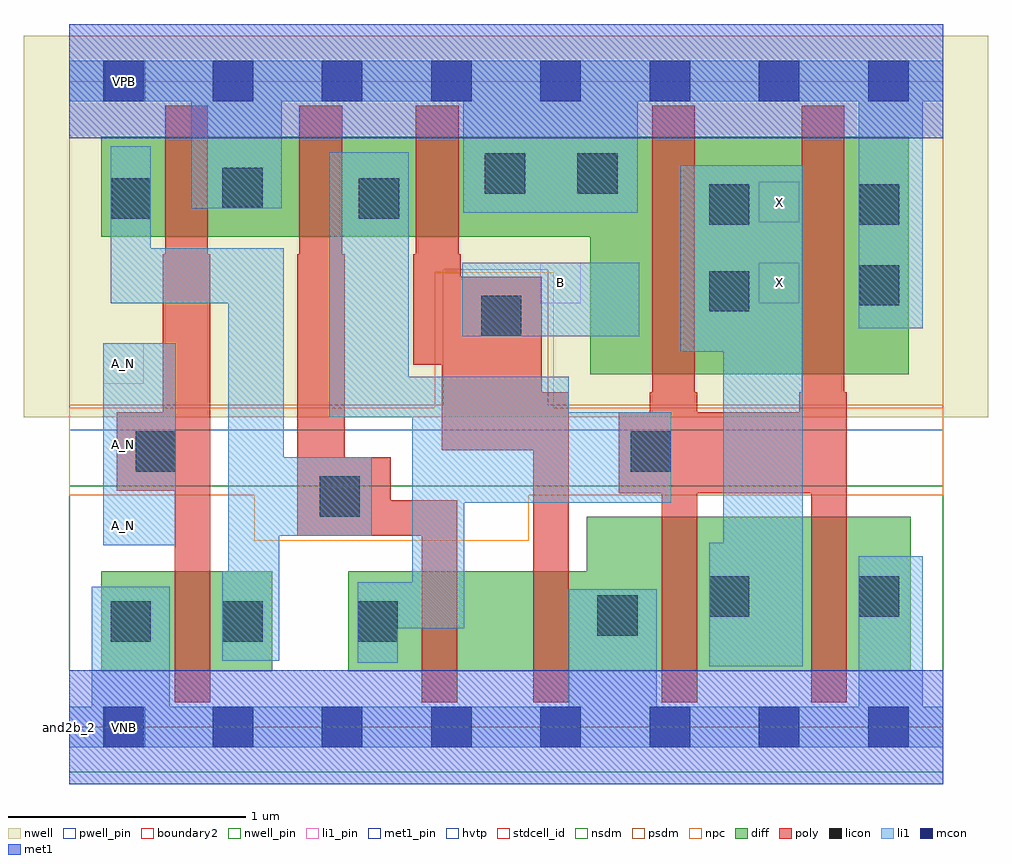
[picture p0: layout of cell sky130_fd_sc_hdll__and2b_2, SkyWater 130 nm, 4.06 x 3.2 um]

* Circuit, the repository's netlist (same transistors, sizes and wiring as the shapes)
* Copyright 2020 The SkyWater PDK Authors
*
* Licensed under the Apache License, Version 2.0 (the "License");
* you may not use this file except in compliance with the License.
* You may obtain a copy of the License at
*
*     https://www.apache.org/licenses/LICENSE-2.0
*
* Unless required by applicable law or agreed to in writing, software
* distributed under the License is distributed on an "AS IS" BASIS,
* WITHOUT WARRANTIES OR CONDITIONS OF ANY KIND, either express or implied.
* See the License for the specific language governing permissions and
* limitations under the License.
*
* SPDX-License-Identifier: Apache-2.0

.SUBCKT sky130_fd_sc_hdll__and2b_2 A_N B VGND VNB VPB VPWR X
*.PININFO A_N:I B:I VGND:I VNB:I VPB:I VPWR:I X:O
MMP0 y A VPWR VPB sky130_fd_pr__pfet_01v8_hvt m=1 w=0.42U l=0.18U mult=1 sa=0.265
+ sb=0.265 sd=0.28 area=0.063 perim=1.14
MMP1 y B VPWR VPB sky130_fd_pr__pfet_01v8_hvt m=1 w=0.42U l=0.18U mult=1 sa=0.265
+ sb=0.265 sd=0.28 area=0.063 perim=1.14
MMIP0 A A_N VPWR VPB sky130_fd_pr__pfet_01v8_hvt m=1 w=0.42U l=0.18U mult=1 sa=0.265
+ sb=0.265 sd=0.28 area=0.063 perim=1.14
MMIP1 X y VPWR VPB sky130_fd_pr__pfet_01v8_hvt m=2 w=1.0U l=0.18U mult=1 sa=0.265
+ sb=0.265 sd=0.28 area=0.063 perim=1.14
MMN0 y A sndA VNB sky130_fd_pr__nfet_01v8 m=1 w=0.42U l=0.15U mult=1 sa=0.265 sb=0.265
+ sd=0.28 area=0.063 perim=1.14
MMN1 sndA B VGND VNB sky130_fd_pr__nfet_01v8 m=1 w=0.42U l=0.15U mult=1 sa=0.265
+ sb=0.265 sd=0.28 area=0.063 perim=1.14
MMIN0 A A_N VGND VNB sky130_fd_pr__nfet_01v8 m=1 w=0.42U l=0.15U mult=1 sa=0.265
+ sb=0.265 sd=0.28 area=0.063 perim=1.14
MMIN1 X y VGND VNB sky130_fd_pr__nfet_01v8 m=2 w=0.65U l=0.15U mult=1 sa=0.265
+ sb=0.265 sd=0.28 area=0.063 perim=1.14
.ENDS sky130_fd_sc_hdll__and2b_2

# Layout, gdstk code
import gdstk
lib = gdstk.Library(unit=1e-6, precision=1e-09)
def R(c, l, rs):  # rectangles x0, y0, x1, y1
    for r in rs: c.add(gdstk.rectangle(r[:2], r[2:], *l))
def A(c, l, x, y, w, h, nx, ny, dx, dy):  # array of equal rectangles
    R(c, l, [(x+i*dx, y+j*dy, x+i*dx+w, y+j*dy+h) for i in range(nx) for j in range(ny)])
def P(c, l, *ps):  # polygons
    for p in ps: c.add(gdstk.Polygon(p, *l))
nwell_pin = (64, 16)
nwell = (64, 20)
diff = (65, 20)
poly = (66, 20)
licon = (66, 44)
li1_pin = (67, 16)
li1 = (67, 20)
mcon = (67, 44)
met1_pin = (68, 16)
met1 = (68, 20)
hvtp = (78, 44)
stdcell_id = (81, 4)
nsdm = (93, 44)
psdm = (94, 20)
npc = (95, 20)
pwell_pin = (122, 16)
boundary2 = (236, 0)

sky130_fd_sc_hdll__and2b = lib.new_cell('sky130_fd_sc_hdll__and2b_2')
R(sky130_fd_sc_hdll__and2b, nwell_pin, [(0.15,2.635,0.32,2.805)])
R(sky130_fd_sc_hdll__and2b, nwell, [(-0.19,1.305,3.87,2.91)])
R(sky130_fd_sc_hdll__and2b, diff, [(0.135,0.235,0.855,0.655)])
P(sky130_fd_sc_hdll__and2b, diff, [(3.535,2.485),(0.135,2.485),(0.135,2.065),(2.195,2.065),(2.195,1.485),(3.535,1.485)],
  [(3.545,0.885),(2.18,0.885),(2.18,0.655),(1.175,0.655),(1.175,0.235),(3.545,0.235)])
P(sky130_fd_sc_hdll__and2b, poly, [(0.595,1.99),(0.585,1.99),(0.585,2.615),(0.405,2.615),(0.405,1.99),(0.395,1.99),(0.395,1.325),(0.2,1.325),(0.2,0.995),(0.445,0.995),(0.445,0.105),(0.595,0.105)],
  [(1.635,0.955),(1.355,0.955),(1.355,1.135),(1.16,1.135),(1.16,1.99),(1.15,1.99),(1.15,2.615),(0.97,2.615),(0.97,1.99),(0.96,1.99),(0.96,0.805),(1.485,0.805),(1.485,0.105),(1.635,0.105)],
  [(2.105,1.41),(1.99,1.41),(1.99,1.895),(1.65,1.895),(1.65,1.99),(1.64,1.99),(1.64,2.615),(1.46,2.615),(1.46,1.99),(1.45,1.99),(1.45,1.525),(1.57,1.525),(1.57,1.165),(1.955,1.165),(1.955,0.105),(2.105,0.105)],
  [(3.275,1.41),(3.265,1.41),(3.265,2.615),(3.085,2.615),(3.085,1.41),(3.075,1.41),(3.075,1.325),(2.645,1.325),(2.645,1.41),(2.635,1.41),(2.635,2.615),(2.455,2.615),(2.455,1.41),(2.445,1.41),(2.445,1.325),(2.315,1.325),(2.315,0.985),(2.495,0.985),(2.495,0.105),(2.645,0.105),(2.645,0.985),(3.125,0.985),(3.125,0.105),(3.275,0.105)])
R(sky130_fd_sc_hdll__and2b, licon, [(0.175,0.36,0.345,0.53), (0.645,0.36,0.815,0.53), (1.215,0.36,1.385,0.53), (2.225,0.385,2.395,0.555), (2.695,0.465,2.865,0.635), (3.325,0.465,3.495,0.635), (1.055,0.885,1.225,1.055), (0.28,1.075,0.45,1.245), (2.365,1.075,2.535,1.245), (1.735,1.645,1.905,1.815), (2.695,1.75,2.865,1.92), (3.325,1.775,3.495,1.945), (2.695,2.115,2.865,2.285), (3.325,2.115,3.495,2.285), (0.175,2.14,0.345,2.31), (1.22,2.14,1.39,2.31), (0.645,2.185,0.815,2.355), (1.75,2.245,1.92,2.415), (2.14,2.245,2.31,2.415)])
R(sky130_fd_sc_hdll__and2b, li1_pin, [(0.145,1.445,0.315,1.615), (1.985,1.785,2.155,1.955), (2.905,1.785,3.075,1.955), (2.905,2.125,3.075,2.295)])
R(sky130_fd_sc_hdll__and2b, li1, [(0.145,0.765,0.45,1.615), (1.655,1.645,2.4,1.955)])
P(sky130_fd_sc_hdll__and2b, li1, [(3.68,0.085),(3.595,0.085),(3.595,0.72),(3.325,0.72),(3.325,0.085),(2.475,0.085),(2.475,0.58),(2.105,0.58),(2.105,0.085),(0.425,0.085),(0.425,0.59),(0.095,0.59),(0.095,0.085),(0,0.085),(0,-0.085),(3.68,-0.085)],
  [(3.68,2.805),(0,2.805),(0,2.635),(0.515,2.635),(0.515,2.185),(0.895,2.185),(0.895,2.635),(1.66,2.635),(1.66,2.165),(2.395,2.165),(2.395,2.635),(3.325,2.635),(3.325,1.68),(3.595,1.68),(3.595,2.635),(3.68,2.635)],
  [(1.275,1.135),(0.905,1.135),(0.905,2.015),(0.345,2.015),(0.345,2.445),(0.175,2.445),(0.175,1.785),(0.67,1.785),(0.67,0.655),(0.645,0.655),(0.645,0.28),(0.885,0.28),(0.885,0.805),(1.275,0.805)],
  [(2.535,1.325),(2.105,1.325),(2.105,1.475),(1.43,1.475),(1.43,2.42),(1.095,2.42),(1.095,1.305),(1.445,1.305),(1.445,0.61),(1.215,0.61),(1.215,0.27),(1.385,0.27),(1.385,0.415),(1.665,0.415),(1.665,0.945),(2.535,0.945)],
  [(3.09,2.365),(2.575,2.365),(2.575,1.58),(2.755,1.58),(2.755,0.775),(2.695,0.775),(2.695,0.255),(3.09,0.255)])
A(sky130_fd_sc_hdll__and2b, mcon, 0.145, -0.085, 0.17, 0.17, 8, 2, 0.46, 2.72)
R(sky130_fd_sc_hdll__and2b, met1_pin, [(0.15,-0.085,0.32,0.085), (0.15,2.635,0.32,2.805)])
R(sky130_fd_sc_hdll__and2b, met1, [(0,-0.24,3.68,0.24), (0,2.48,3.68,2.96)])
R(sky130_fd_sc_hdll__and2b, hvtp, [(0,1.25,3.68,2.72)])
R(sky130_fd_sc_hdll__and2b, stdcell_id, [(0,0,3.68,2.72)])
R(sky130_fd_sc_hdll__and2b, nsdm, [(0,-0.19,3.68,1.015)])
P(sky130_fd_sc_hdll__and2b, psdm, [(3.68,2.91),(0,2.91),(0,1.355),(1.575,1.355),(1.575,1.925),(2.015,1.925),(2.015,1.355),(3.68,1.355)])
P(sky130_fd_sc_hdll__and2b, npc, [(3.68,1.345),(2.04,1.345),(2.04,1.915),(1.54,1.915),(1.54,1.345),(0,1.345),(0,0.975),(0.78,0.975),(0.78,0.785),(1.935,0.785),(1.935,0.975),(3.68,0.975)])
R(sky130_fd_sc_hdll__and2b, pwell_pin, [(0.15,-0.085,0.32,0.085)])
R(sky130_fd_sc_hdll__and2b, boundary2, [(0,0,3.68,2.72)])
sky130_fd_sc_hdll__and2b.add(gdstk.Label('VNB', (0.235,0), layer=64, texttype=59))
sky130_fd_sc_hdll__and2b.add(gdstk.Label('VPB', (0.235,2.72), layer=64, texttype=5))
sky130_fd_sc_hdll__and2b.add(gdstk.Label('VPWR', (0.23,2.72), layer=68, texttype=5))
sky130_fd_sc_hdll__and2b.add(gdstk.Label('VGND', (0.23,0), layer=68, texttype=5))
sky130_fd_sc_hdll__and2b.add(gdstk.Label('X', (2.99,2.21), layer=67, texttype=5))
sky130_fd_sc_hdll__and2b.add(gdstk.Label('B', (2.07,1.87), layer=67, texttype=5))
sky130_fd_sc_hdll__and2b.add(gdstk.Label('A_N', (0.23,1.19), layer=67, texttype=5))
sky130_fd_sc_hdll__and2b.add(gdstk.Label('A_N', (0.23,0.85), layer=67, texttype=5))
sky130_fd_sc_hdll__and2b.add(gdstk.Label('A_N', (0.23,1.53), layer=67, texttype=5))
sky130_fd_sc_hdll__and2b.add(gdstk.Label('X', (2.99,1.87), layer=67, texttype=5))
sky130_fd_sc_hdll__and2b.add(gdstk.Label('and2b_2', (0,0), layer=83, texttype=44))

lib.write_gds('sky130_fd_sc_hdll__and2b_2.gds')
